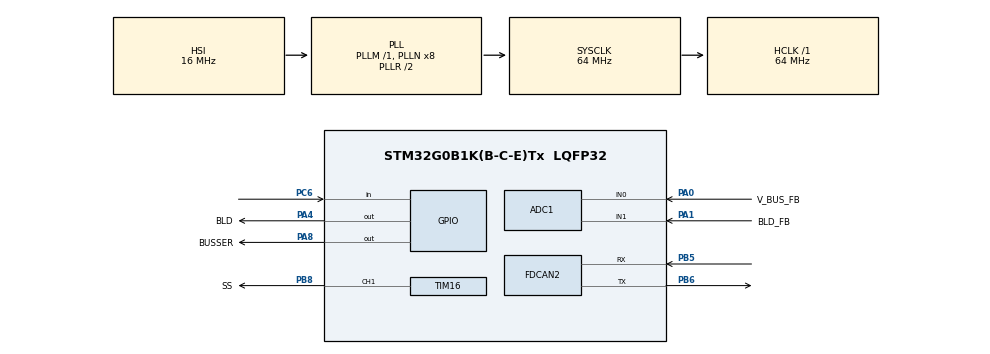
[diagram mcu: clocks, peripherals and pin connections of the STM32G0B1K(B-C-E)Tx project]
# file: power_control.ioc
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ADC1.Channel-0\#ChannelRegularConversion=ADC_CHANNEL_0
ADC1.Channel-1\#ChannelRegularConversion=ADC_CHANNEL_1
ADC1.ContinuousConvMode=ENABLE
ADC1.EnableAnalogWatchDog1=false
ADC1.EnableAnalogWatchDog2=false
ADC1.NbrOfConversion=2
ADC1.NbrOfConversionFlag=1
ADC1.Rank-0\#ChannelRegularConversion=1
ADC1.Rank-1\#ChannelRegularConversion=2
ADC1.SamplingTime-0\#ChannelRegularConversion=ADC_SAMPLINGTIME_COMMON_1
ADC1.SamplingTime-1\#ChannelRegularConversion=ADC_SAMPLINGTIME_COMMON_1
ADC1.SelectedChannel=ADC_CHANNEL_0|ADC_CHANNEL_1
ADC1.master=1
FDCAN2.CalculateBaudRateNominal=666666
FDCAN2.CalculateTimeBitNominal=1500
FDCAN2.CalculateTimeQuantumNominal=500.0
Mcu.Family=STM32G0
Mcu.Name=STM32G0B1K(B-C-E)Tx
Mcu.Package=LQFP32
NVIC.ADC1_COMP_IRQn=true\:0\:0\:false\:false\:true\:true\:true\:true
NVIC.TIM14_IRQn=true\:0\:0\:false\:false\:true\:true\:true\:true
NVIC.TIM16_FDCAN_IT0_IRQn=true\:1\:0\:true\:false\:true\:true\:true\:true
NVIC.TIM17_FDCAN_IT1_IRQn=true\:1\:0\:true\:false\:true\:true\:true\:true
PA0.GPIO_Label=V_BUS_FB
PA0.Mode=IN0
PA0.Signal=ADC1_IN0
PA1.GPIO_Label=BLD_FB
PA1.Mode=IN1
PA1.Signal=ADC1_IN1
PA13.Mode=Serial_Wire
PA13.Signal=SYS_SWDIO
PA14-BOOT0.Mode=Serial_Wire
PA14-BOOT0.Signal=SYS_SWCLK
PA4.GPIO_Label=BLD
PA4.GPIO_PuPd=GPIO_PULLUP
PA4.Signal=GPIO_Output
PA8.GPIO_Label=BUSSER
PA8.Signal=GPIO_Output
PB5.GPIO_PuPd=GPIO_PULLUP
PB5.Mode=FDCAN_Activate
PB5.PinState=GPIO_PIN_RESET
PB5.Signal=FDCAN2_RX
PB6.GPIO_PuPd=GPIO_PULLUP
PB6.Mode=FDCAN_Activate
PB6.Signal=FDCAN2_TX
PB8.GPIO_Label=SS
PB8.GPIO_PuPd=GPIO_PULLDOWN
PB8.Signal=S_TIM16_CH1
PC6.Signal=GPIO_Input
ProjectManager.HeapSize=0x200
ProjectManager.StackSize=0x400
ProjectManager.TargetToolchain=CMake
RCC.ADCFreq_Value=64000000
RCC.AHBFreq_Value=64000000
RCC.APB1CLKDivider=RCC_HCLK_DIV2
RCC.CortexFreq_Value=64000000
RCC.EXTERNAL_CLOCK_VALUE=48000
RCC.HCLKFreq_Value=64000000
RCC.HSE_VALUE=8000000
RCC.HSI48_VALUE=48000000
RCC.HSI_VALUE=16000000
RCC.LSE_VALUE=32768
RCC.SYSCLKFreq_VALUE=64000000
RCC.SYSCLKSource=RCC_SYSCLKSOURCE_PLLCLK
RCC.USBFreq_Value=48000000
RCC.VCOOutputFreq_Value=128000000
SH.S_TIM16_CH1.0=TIM16_CH1,PWM Generation1 CH1
TIM14.Period=999
TIM14.Prescaler=63
TIM16.Channel=TIM_CHANNEL_1
TIM16.Period=249
TIM16.Prescaler=1
VP_SYS_VS_DBSignals.Mode=DisableDeadBatterySignals
VP_TIM14_VS_ClockSourceINT.Mode=Enable_Timer
VP_TIM16_VS_ClockSourceINT.Mode=Enable_Timer
board=custom

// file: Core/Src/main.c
/* USER CODE BEGIN Header */
/**
  ******************************************************************************
  * @file           : main.c
  * @brief          : Main program body
  ******************************************************************************
  * @attention
  *
  * Copyright (c) 2026 STMicroelectronics.
  * All rights reserved.
  *
  * This software is licensed under terms that can be found in the LICENSE file
  * in the root directory of this software component.
  * If no LICENSE file comes with this software, it is provided AS-IS.
  *
  ******************************************************************************
  */
/* USER CODE END Header */
#include "main.h"

/* USER CODE BEGIN Includes */
#include "can_drv.h"

/* USER CODE END Includes */

/* USER CODE BEGIN PTD */
extern uint8_t ADC_BusOver21V_Flag;
extern uint8_t ADC_BldOver15V_Flag;
extern uint8_t ADC_Bus21V_Keep3s_OK;
extern uint32_t total_voltage;//四个电机电压总和，具体是什么可以自己改
/* USER CODE END PTD */

ADC_HandleTypeDef hadc1;

FDCAN_HandleTypeDef hfdcan2;

TIM_HandleTypeDef htim14;
TIM_HandleTypeDef htim16;

/* USER CODE BEGIN PV */
extern uint8_t ADC_BusOver21V_Flag;
extern uint8_t ADC_BldOver15V_Flag;
extern uint8_t ADC_Bus21V_Keep3s_OK;
/* USER CODE END PV */

void SystemClock_Config(void);
static void MX_GPIO_Init(void);
static void MX_ADC1_Init(void);
static void MX_FDCAN2_Init(void);
static void MX_TIM14_Init(void);
static void MX_TIM16_Init(void);

int main(void)
{

  /* MCU Configuration--------------------------------------------------------*/

  /* Reset of all peripherals, Initializes the Flash interface and the Systick. */
  HAL_Init();

  /* Configure the system clock */
  SystemClock_Config();

  /* Initialize all configured peripherals */
  MX_GPIO_Init();
  MX_ADC1_Init();
  MX_FDCAN2_Init();
  MX_TIM14_Init();
  MX_TIM16_Init();
  /* USER CODE BEGIN 2 */
/* USER CODE BEGIN 2 */
// ADC采样
HAL_ADC_Start_IT(&hadc1);
HAL_NVIC_EnableIRQ(ADC1_COMP_IRQn);
HAL_NVIC_EnableIRQ(ADC1_COMP_IRQn); // 使能中断

// TIM14（系统定时控制）
HAL_TIM_Base_Init(&htim14);
HAL_TIM_Base_Start_IT(&htim14);
HAL_NVIC_EnableIRQ(TIM14_IRQn);

// CAN初始化（已配置）
FDCAN_Filter_Init(&hfdcan2);
FDCAN_Init(&hfdcan2);

// 先设置比较值，再启动PWM（避免启动时占空比为0）
__HAL_TIM_SET_COMPARE(&htim16, TIM_CHANNEL_1, 240);
HAL_TIM_PWM_Start(&htim16, TIM_CHANNEL_1); // 启动TIM
  /* USER CODE END 2 */

  /* Infinite loop */
  while (1)
  {

  }
}

void SystemClock_Config(void)
{
  RCC_OscInitTypeDef RCC_OscInitStruct = {0};
  RCC_ClkInitTypeDef RCC_ClkInitStruct = {0};

  /** Configure the main internal regulator output voltage
  */
  HAL_PWREx_ControlVoltageScaling(PWR_REGULATOR_VOLTAGE_SCALE1);

  /** Initializes the RCC Oscillators according to the specified parameters
  * in the RCC_OscInitTypeDef structure.
  */
  RCC_OscInitStruct.OscillatorType = RCC_OSCILLATORTYPE_HSI;
  RCC_OscInitStruct.HSIState = RCC_HSI_ON;
  RCC_OscInitStruct.HSIDiv = RCC_HSI_DIV1;
  RCC_OscInitStruct.HSICalibrationValue = RCC_HSICALIBRATION_DEFAULT;
  RCC_OscInitStruct.PLL.PLLState = RCC_PLL_ON;
  RCC_OscInitStruct.PLL.PLLSource = RCC_PLLSOURCE_HSI;
  RCC_OscInitStruct.PLL.PLLM = RCC_PLLM_DIV1;
  RCC_OscInitStruct.PLL.PLLN = 8;
  RCC_OscInitStruct.PLL.PLLP = RCC_PLLP_DIV2;
  RCC_OscInitStruct.PLL.PLLQ = RCC_PLLQ_DIV2;
  RCC_OscInitStruct.PLL.PLLR = RCC_PLLR_DIV2;
  if (HAL_RCC_OscConfig(&RCC_OscInitStruct) != HAL_OK)
  {
    Error_Handler();
  }

  /** Initializes the CPU, AHB and APB buses clocks
  */
  RCC_ClkInitStruct.ClockType = RCC_CLOCKTYPE_HCLK|RCC_CLOCKTYPE_SYSCLK
                              |RCC_CLOCKTYPE_PCLK1;
  RCC_ClkInitStruct.SYSCLKSource = RCC_SYSCLKSOURCE_PLLCLK;
  RCC_ClkInitStruct.AHBCLKDivider = RCC_SYSCLK_DIV1;
  RCC_ClkInitStruct.APB1CLKDivider = RCC_HCLK_DIV2;

  if (HAL_RCC_ClockConfig(&RCC_ClkInitStruct, FLASH_LATENCY_2) != HAL_OK)
  {
    Error_Handler();
  }
}

static void MX_ADC1_Init(void)
{

  ADC_ChannelConfTypeDef sConfig = {0};

  /** Configure the global features of the ADC (Clock, Resolution, Data Alignment and number of conversion)
  */
  hadc1.Instance = ADC1;
  hadc1.Init.ClockPrescaler = ADC_CLOCK_SYNC_PCLK_DIV2;
  hadc1.Init.Resolution = ADC_RESOLUTION_12B;
  hadc1.Init.DataAlign = ADC_DATAALIGN_RIGHT;
  hadc1.Init.ScanConvMode = ADC_SCAN_ENABLE;
  hadc1.Init.EOCSelection = ADC_EOC_SINGLE_CONV;
  hadc1.Init.LowPowerAutoWait = DISABLE;
  hadc1.Init.LowPowerAutoPowerOff = DISABLE;
  hadc1.Init.ContinuousConvMode = ENABLE;
  hadc1.Init.NbrOfConversion = 2;
  hadc1.Init.ExternalTrigConv = ADC_SOFTWARE_START;
  hadc1.Init.ExternalTrigConvEdge = ADC_EXTERNALTRIGCONVEDGE_NONE;
  hadc1.Init.DMAContinuousRequests = DISABLE;
  hadc1.Init.Overrun = ADC_OVR_DATA_PRESERVED;
  hadc1.Init.SamplingTimeCommon1 = ADC_SAMPLETIME_1CYCLE_5;
  hadc1.Init.SamplingTimeCommon2 = ADC_SAMPLETIME_1CYCLE_5;
  hadc1.Init.OversamplingMode = DISABLE;
  hadc1.Init.TriggerFrequencyMode = ADC_TRIGGER_FREQ_HIGH;
  if (HAL_ADC_Init(&hadc1) != HAL_OK)
  {
    Error_Handler();
  }

  /** Configure Regular Channel
  */
  sConfig.Channel = ADC_CHANNEL_0;
  sConfig.Rank = ADC_REGULAR_RANK_1;
  sConfig.SamplingTime = ADC_SAMPLINGTIME_COMMON_1;
  if (HAL_ADC_ConfigChannel(&hadc1, &sConfig) != HAL_OK)
  {
    Error_Handler();
  }

  /** Configure Regular Channel
  */
  sConfig.Channel = ADC_CHANNEL_1;
  sConfig.Rank = ADC_REGULAR_RANK_2;
  if (HAL_ADC_ConfigChannel(&hadc1, &sConfig) != HAL_OK)
  {
    Error_Handler();
  }

}

static void MX_FDCAN2_Init(void)
{

  hfdcan2.Instance = FDCAN2;
  hfdcan2.Init.ClockDivider = FDCAN_CLOCK_DIV1;
  hfdcan2.Init.FrameFormat = FDCAN_FRAME_CLASSIC;
  hfdcan2.Init.Mode = FDCAN_MODE_NORMAL;
  hfdcan2.Init.AutoRetransmission = DISABLE;
  hfdcan2.Init.TransmitPause = DISABLE;
  hfdcan2.Init.ProtocolException = DISABLE;
  hfdcan2.Init.NominalPrescaler = 16;
  hfdcan2.Init.NominalSyncJumpWidth = 1;
  hfdcan2.Init.NominalTimeSeg1 = 1;
  hfdcan2.Init.NominalTimeSeg2 = 1;
  hfdcan2.Init.DataPrescaler = 1;
  hfdcan2.Init.DataSyncJumpWidth = 1;
  hfdcan2.Init.DataTimeSeg1 = 1;
  hfdcan2.Init.DataTimeSeg2 = 1;
  hfdcan2.Init.StdFiltersNbr = 0;
  hfdcan2.Init.ExtFiltersNbr = 0;
  hfdcan2.Init.TxFifoQueueMode = FDCAN_TX_FIFO_OPERATION;
  if (HAL_FDCAN_Init(&hfdcan2) != HAL_OK)
  {
    Error_Handler();
  }

}

static void MX_TIM14_Init(void)
{

  htim14.Instance = TIM14;
  htim14.Init.Prescaler = 63;
  htim14.Init.CounterMode = TIM_COUNTERMODE_UP;
  htim14.Init.Period = 999;
  htim14.Init.ClockDivision = TIM_CLOCKDIVISION_DIV1;
  htim14.Init.AutoReloadPreload = TIM_AUTORELOAD_PRELOAD_DISABLE;
  if (HAL_TIM_Base_Init(&htim14) != HAL_OK)
  {
    Error_Handler();
  }

}

static void MX_TIM16_Init(void)
{

  TIM_OC_InitTypeDef sConfigOC = {0};
  TIM_BreakDeadTimeConfigTypeDef sBreakDeadTimeConfig = {0};

  htim16.Instance = TIM16;
  htim16.Init.Prescaler = 1;
  htim16.Init.CounterMode = TIM_COUNTERMODE_UP;
  htim16.Init.Period = 249;
  htim16.Init.ClockDivision = TIM_CLOCKDIVISION_DIV1;
  htim16.Init.RepetitionCounter = 0;
  htim16.Init.AutoReloadPreload = TIM_AUTORELOAD_PRELOAD_DISABLE;
  if (HAL_TIM_Base_Init(&htim16) != HAL_OK)
  {
    Error_Handler();
  }
  if (HAL_TIM_PWM_Init(&htim16) != HAL_OK)
  {
    Error_Handler();
  }
  sConfigOC.OCMode = TIM_OCMODE_PWM1;
  sConfigOC.Pulse = 0;
  sConfigOC.OCPolarity = TIM_OCPOLARITY_HIGH;
  sConfigOC.OCNPolarity = TIM_OCNPOLARITY_HIGH;
  sConfigOC.OCFastMode = TIM_OCFAST_DISABLE;
  sConfigOC.OCIdleState = TIM_OCIDLESTATE_RESET;
  sConfigOC.OCNIdleState = TIM_OCNIDLESTATE_RESET;
  if (HAL_TIM_PWM_ConfigChannel(&htim16, &sConfigOC, TIM_CHANNEL_1) != HAL_OK)
  {
    Error_Handler();
  }
  sBreakDeadTimeConfig.OffStateRunMode = TIM_OSSR_DISABLE;
  sBreakDeadTimeConfig.OffStateIDLEMode = TIM_OSSI_DISABLE;
  sBreakDeadTimeConfig.LockLevel = TIM_LOCKLEVEL_OFF;
  sBreakDeadTimeConfig.DeadTime = 0;
  sBreakDeadTimeConfig.BreakState = TIM_BREAK_DISABLE;
  sBreakDeadTimeConfig.BreakPolarity = TIM_BREAKPOLARITY_HIGH;
  sBreakDeadTimeConfig.BreakFilter = 0;
  sBreakDeadTimeConfig.AutomaticOutput = TIM_AUTOMATICOUTPUT_DISABLE;
  if (HAL_TIMEx_ConfigBreakDeadTime(&htim16, &sBreakDeadTimeConfig) != HAL_OK)
  {
    Error_Handler();
  }
  HAL_TIM_MspPostInit(&htim16);

}

static void MX_GPIO_Init(void)
{
  GPIO_InitTypeDef GPIO_InitStruct = {0};

  /* GPIO Ports Clock Enable */
  __HAL_RCC_GPIOA_CLK_ENABLE();
  __HAL_RCC_GPIOC_CLK_ENABLE();
  __HAL_RCC_GPIOB_CLK_ENABLE();

  /*Configure GPIO pin Output Level */
  HAL_GPIO_WritePin(GPIOA, BLD_Pin|BUSSER_Pin, GPIO_PIN_RESET);

  /*Configure GPIO pin : BLD_Pin */
  GPIO_InitStruct.Pin = BLD_Pin;
  GPIO_InitStruct.Mode = GPIO_MODE_OUTPUT_PP;
  GPIO_InitStruct.Pull = GPIO_PULLUP;
  GPIO_InitStruct.Speed = GPIO_SPEED_FREQ_LOW;
  HAL_GPIO_Init(BLD_GPIO_Port, &GPIO_InitStruct);

  /*Configure GPIO pin : BUSSER_Pin */
  GPIO_InitStruct.Pin = BUSSER_Pin;
  GPIO_InitStruct.Mode = GPIO_MODE_OUTPUT_PP;
  GPIO_InitStruct.Pull = GPIO_NOPULL;
  GPIO_InitStruct.Speed = GPIO_SPEED_FREQ_LOW;
  HAL_GPIO_Init(BUSSER_GPIO_Port, &GPIO_InitStruct);

  /*Configure GPIO pin : PC6 */
  GPIO_InitStruct.Pin = GPIO_PIN_6;
  GPIO_InitStruct.Mode = GPIO_MODE_INPUT;
  GPIO_InitStruct.Pull = GPIO_NOPULL;
  HAL_GPIO_Init(GPIOC, &GPIO_InitStruct);

}

void Error_Handler(void)
{
  __disable_irq();
  while (1)
  {
  }
}
